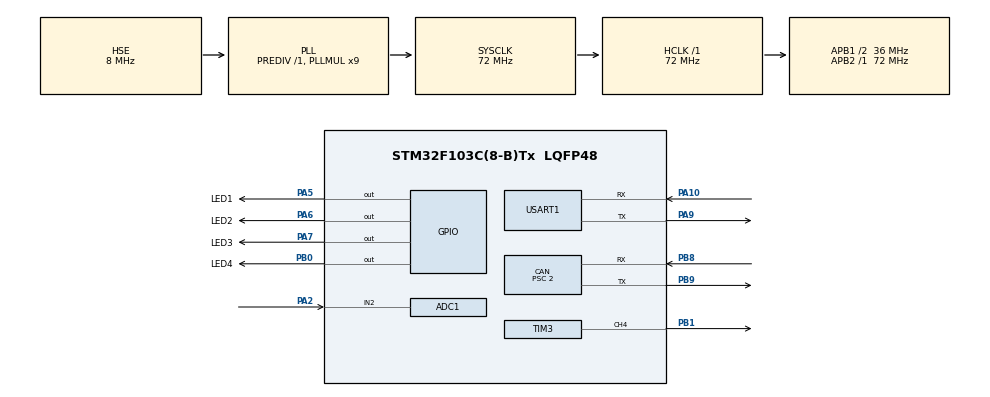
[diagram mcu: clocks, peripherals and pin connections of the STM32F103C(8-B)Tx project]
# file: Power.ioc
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ADC1.Channel-0\#ChannelRegularConversion=ADC_CHANNEL_2
ADC1.ContinuousConvMode=ENABLE
ADC1.NbrOfConversionFlag=1
ADC1.master=1
CAN.BS1=CAN_BS1_15TQ
CAN.BS2=CAN_BS2_2TQ
CAN.CalculateBaudRate=1000000
CAN.CalculateTimeBit=1000
CAN.CalculateTimeQuantum=55.55555555555556
CAN.Prescaler=2
Dma.Request0=USART1_RX
Dma.Request1=USART1_TX
Dma.USART1_RX.0.Direction=DMA_PERIPH_TO_MEMORY
Dma.USART1_RX.0.Instance=DMA1_Channel5
Dma.USART1_RX.0.MemDataAlignment=DMA_MDATAALIGN_BYTE
Dma.USART1_RX.0.MemInc=DMA_MINC_ENABLE
Dma.USART1_RX.0.Mode=DMA_CIRCULAR
Dma.USART1_RX.0.PeriphDataAlignment=DMA_PDATAALIGN_BYTE
Dma.USART1_RX.0.PeriphInc=DMA_PINC_DISABLE
Dma.USART1_RX.0.Priority=DMA_PRIORITY_LOW
Dma.USART1_TX.1.Direction=DMA_MEMORY_TO_PERIPH
Dma.USART1_TX.1.Instance=DMA1_Channel4
Dma.USART1_TX.1.MemDataAlignment=DMA_MDATAALIGN_BYTE
Dma.USART1_TX.1.MemInc=DMA_MINC_ENABLE
Dma.USART1_TX.1.Mode=DMA_NORMAL
Dma.USART1_TX.1.PeriphDataAlignment=DMA_PDATAALIGN_BYTE
Dma.USART1_TX.1.PeriphInc=DMA_PINC_DISABLE
Dma.USART1_TX.1.Priority=DMA_PRIORITY_LOW
Mcu.Family=STM32F1
Mcu.Name=STM32F103C(8-B)Tx
Mcu.Package=LQFP48
NVIC.ADC1_2_IRQn=true\:0\:0\:false\:false\:true\:true\:true\:true
NVIC.DMA1_Channel4_IRQn=true\:0\:0\:false\:false\:true\:false\:true\:true
NVIC.DMA1_Channel5_IRQn=true\:0\:0\:false\:false\:true\:false\:true\:true
NVIC.PriorityGroup=NVIC_PRIORITYGROUP_4
NVIC.TIM3_IRQn=true\:0\:0\:false\:false\:true\:true\:true\:true
NVIC.USART1_IRQn=true\:0\:0\:false\:false\:true\:true\:true\:true
NVIC.USB_LP_CAN1_RX0_IRQn=true\:0\:0\:false\:false\:true\:true\:true\:true
PA10.Mode=Asynchronous
PA10.Signal=USART1_RX
PA13.Mode=Serial_Wire
PA13.Signal=SYS_JTMS-SWDIO
PA14.Mode=Serial_Wire
PA14.Signal=SYS_JTCK-SWCLK
PA2.Signal=ADCx_IN2
PA5.GPIO_Label=LED1
PA5.Signal=GPIO_Output
PA6.GPIO_Label=LED2
PA6.Signal=GPIO_Output
PA7.GPIO_Label=LED3
PA7.Signal=GPIO_Output
PA9.Mode=Asynchronous
PA9.Signal=USART1_TX
PB0.GPIO_Label=LED4
PB0.Signal=GPIO_Output
PB1.Signal=S_TIM3_CH4
PB8.Mode=CAN_Activate
PB8.Signal=CAN_RX
PB9.Mode=CAN_Activate
PB9.Signal=CAN_TX
PD0-OSC_IN.Mode=HSE-External-Oscillator
PD0-OSC_IN.Signal=RCC_OSC_IN
PD1-OSC_OUT.Mode=HSE-External-Oscillator
PD1-OSC_OUT.Signal=RCC_OSC_OUT
ProjectManager.HeapSize=0x200
ProjectManager.StackSize=0x400
ProjectManager.TargetToolchain=STM32CubeIDE
RCC.ADCPresc=RCC_ADCPCLK2_DIV6
RCC.AHBFreq_Value=72000000
RCC.APB1CLKDivider=RCC_HCLK_DIV2
RCC.APB1Freq_Value=36000000
RCC.APB1TimFreq_Value=72000000
RCC.APB2Freq_Value=72000000
RCC.APB2TimFreq_Value=72000000
RCC.HCLKFreq_Value=72000000
RCC.PLLMUL=RCC_PLL_MUL9
RCC.PLLSourceVirtual=RCC_PLLSOURCE_HSE
RCC.SYSCLKFreq_VALUE=72000000
RCC.SYSCLKSource=RCC_SYSCLKSOURCE_PLLCLK
RCC.USBFreq_Value=72000000
SH.ADCx_IN2.0=ADC1_IN2,IN2
SH.S_TIM3_CH4.0=TIM3_CH4,PWM Generation4 CH4
TIM3.AutoReloadPreload=TIM_AUTORELOAD_PRELOAD_ENABLE
TIM3.Channel-PWM\ Generation4\ CH4=TIM_CHANNEL_4
TIM3.OCMode_PWM-PWM\ Generation4\ CH4=TIM_OCMODE_PWM1
TIM3.Period=1000-1
TIM3.Prescaler=72-1
TIM3.Pulse-PWM\ Generation4\ CH4=500-1
USART1.VirtualMode=VM_ASYNC
VP_TIM3_VS_ClockSourceINT.Mode=Internal
board=custom

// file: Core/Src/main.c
/* USER CODE BEGIN Header */
/**
  ******************************************************************************
  * @file           : main.c
  * @brief          : Main program body
  ******************************************************************************
  * @attention
  *
  * Copyright (c) 2025 STMicroelectronics.
  * All rights reserved.
  *
  * This software is licensed under terms that can be found in the LICENSE file
  * in the root directory of this software component.
  * If no LICENSE file comes with this software, it is provided AS-IS.
  *
  ******************************************************************************
  */
/* USER CODE END Header */
#include "main.h"
#include "adc.h"
#include "can.h"
#include "dma.h"
#include "tim.h"
#include "usart.h"
#include "gpio.h"

/* USER CODE BEGIN Includes */
#include "buzzer.h"
#include "canio.h"
#include "led.h"
#include "uartio.h"
/* USER CODE END Includes */

void SystemClock_Config(void);

int main(void)
{

  /* MCU Configuration--------------------------------------------------------*/

  /* Reset of all peripherals, Initializes the Flash interface and the Systick. */
  HAL_Init();

  /* Configure the system clock */
  SystemClock_Config();

  /* Initialize all configured peripherals */
  MX_GPIO_Init();
  MX_DMA_Init();
  MX_ADC1_Init();
  MX_CAN_Init();
  MX_TIM3_Init();
  MX_USART1_UART_Init();
  /* USER CODE BEGIN 2 */
  ADC_Init();
  Buzzer_Init();
  CAN_Init();
  /* USER CODE END 2 */

  /* Infinite loop */
  /* USER CODE BEGIN WHILE */
  while (1)
  {
    ADC_Update();
    Buzzer_Play();
    CAN_SendMessage(adc_data.measuredVoltage);
    UART_Print("%f, %f, %d, %d, %d, %d\r\n",
      adc_data.measuredVoltage,
      adc_data.overVoltageStatus,
      adc_data.overVoltageCount,
      adc_data.underVoltageStatus,
      adc_data.underVoltageCount
    );

    HAL_Delay(5);
    /* USER CODE END WHILE */

  }
}

void SystemClock_Config(void)
{
  RCC_OscInitTypeDef RCC_OscInitStruct = {0};
  RCC_ClkInitTypeDef RCC_ClkInitStruct = {0};
  RCC_PeriphCLKInitTypeDef PeriphClkInit = {0};

  /** Initializes the RCC Oscillators according to the specified parameters
  * in the RCC_OscInitTypeDef structure.
  */
  RCC_OscInitStruct.OscillatorType = RCC_OSCILLATORTYPE_HSE;
  RCC_OscInitStruct.HSEState = RCC_HSE_ON;
  RCC_OscInitStruct.HSEPredivValue = RCC_HSE_PREDIV_DIV1;
  RCC_OscInitStruct.HSIState = RCC_HSI_ON;
  RCC_OscInitStruct.PLL.PLLState = RCC_PLL_ON;
  RCC_OscInitStruct.PLL.PLLSource = RCC_PLLSOURCE_HSE;
  RCC_OscInitStruct.PLL.PLLMUL = RCC_PLL_MUL9;
  if (HAL_RCC_OscConfig(&RCC_OscInitStruct) != HAL_OK)
  {
    Error_Handler();
  }

  /** Initializes the CPU, AHB and APB buses clocks
  */
  RCC_ClkInitStruct.ClockType = RCC_CLOCKTYPE_HCLK|RCC_CLOCKTYPE_SYSCLK
                              |RCC_CLOCKTYPE_PCLK1|RCC_CLOCKTYPE_PCLK2;
  RCC_ClkInitStruct.SYSCLKSource = RCC_SYSCLKSOURCE_PLLCLK;
  RCC_ClkInitStruct.AHBCLKDivider = RCC_SYSCLK_DIV1;
  RCC_ClkInitStruct.APB1CLKDivider = RCC_HCLK_DIV2;
  RCC_ClkInitStruct.APB2CLKDivider = RCC_HCLK_DIV1;

  if (HAL_RCC_ClockConfig(&RCC_ClkInitStruct, FLASH_LATENCY_2) != HAL_OK)
  {
    Error_Handler();
  }
  PeriphClkInit.PeriphClockSelection = RCC_PERIPHCLK_ADC;
  PeriphClkInit.AdcClockSelection = RCC_ADCPCLK2_DIV6;
  if (HAL_RCCEx_PeriphCLKConfig(&PeriphClkInit) != HAL_OK)
  {
    Error_Handler();
  }
}

void Error_Handler(void)
{
  __disable_irq();
  while (1)
  {
  }
}
